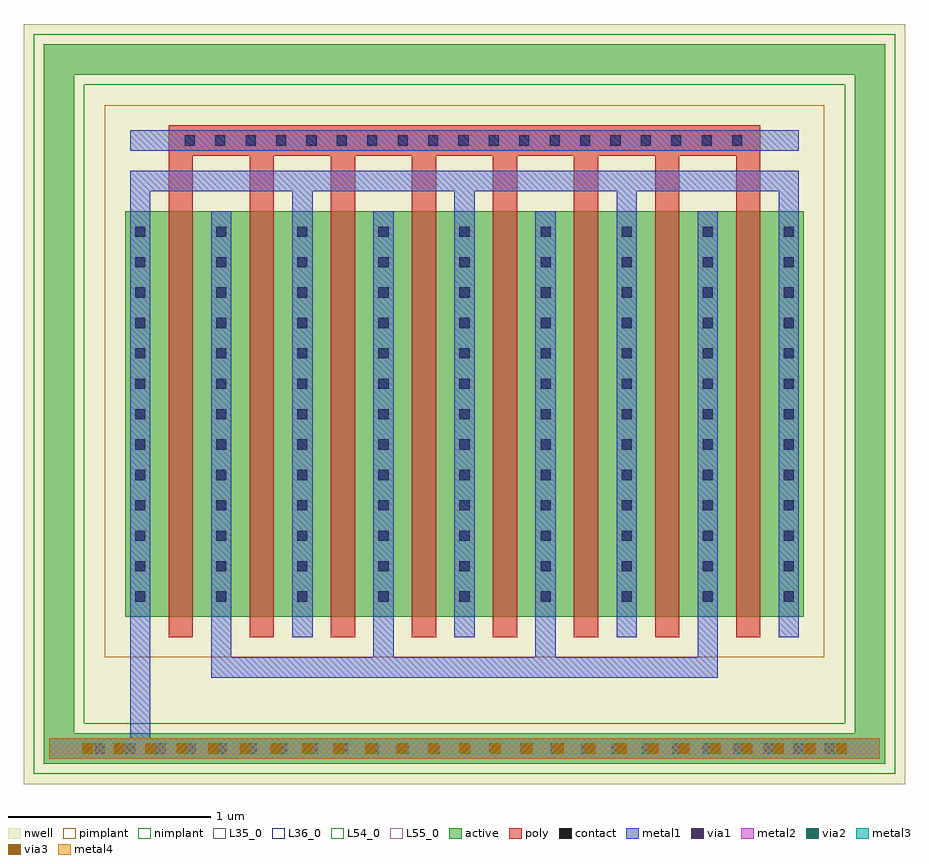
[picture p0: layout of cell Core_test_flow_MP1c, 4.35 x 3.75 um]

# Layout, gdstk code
import gdstk
lib = gdstk.Library(unit=1e-6, precision=1e-09)
def R(c, l, rs):  # rectangles x0, y0, x1, y1
    for r in rs: c.add(gdstk.rectangle(r[:2], r[2:], *l))
def A(c, l, x, y, w, h, nx, ny, dx, dy):  # array of equal rectangles
    R(c, l, [(x+i*dx, y+j*dy, x+i*dx+w, y+j*dy+h) for i in range(nx) for j in range(ny)])
nwell = (3, 0)
active = (6, 0)
poly = (17, 0)
pimplant = (25, 0)
nimplant = (26, 0)
contact = (30, 0)
metal1 = (31, 0)
metal2 = (32, 0)
metal3 = (33, 0)
metal4 = (34, 0)
L35_0 = (35, 0)
L36_0 = (36, 0)
via1 = (51, 0)
via2 = (52, 0)
via3 = (53, 0)
L54_0 = (54, 0)
L55_0 = (55, 0)

core_test_flow_mp1c = lib.new_cell('Core_test_flow_MP1c')
R(core_test_flow_mp1c, nwell, [(-0.575,-0.775,3.775,2.975), (-0.125,-0.1,3.325,2.2)])
R(core_test_flow_mp1c, active, [(-0.475,-0.675,-0.325,-0.525), (-0.325,-0.675,3.525,-0.525), (3.525,-0.675,3.675,-0.525), (-0.475,-0.525,-0.325,2.725), (3.525,-0.525,3.675,2.725), (-0.075,0.05,3.275,2.05), (-0.475,2.725,-0.325,2.875), (-0.325,2.725,3.525,2.875), (3.525,2.725,3.675,2.875)])
A(core_test_flow_mp1c, poly, 0.14, -0.05, 0.12, 2.2, 8, 1, 0.4, 0)
A(core_test_flow_mp1c, poly, 0.14, 2.05, 0.12, 0.3, 8, 1, 0.4, 0)
R(core_test_flow_mp1c, poly, [(0.14,2.325,3.06,2.475)])
R(core_test_flow_mp1c, pimplant, [(-0.175,-0.15,3.375,2.575)])
R(core_test_flow_mp1c, nimplant, [(-0.525,-0.725,-0.275,-0.475), (-0.325,-0.725,3.525,-0.475), (3.475,-0.725,3.725,-0.475), (-0.525,-0.525,-0.275,2.725), (3.475,-0.525,3.725,2.725), (-0.525,2.675,-0.275,2.925), (-0.325,2.675,3.525,2.925), (3.475,2.675,3.725,2.925)])
A(core_test_flow_mp1c, contact, -0.225, -0.625, 0.05, 0.05, 25, 1, 0.15, 0)
A(core_test_flow_mp1c, contact, -0.025, 0.125, 0.05, 0.05, 9, 13, 0.4, 0.15)
A(core_test_flow_mp1c, contact, 0.22, 2.375, 0.05, 0.05, 19, 1, 0.15, 0)
A(core_test_flow_mp1c, metal1, 0.35, -0.15, 0.1, 0.1, 4, 1, 0.8, 0)
A(core_test_flow_mp1c, metal1, -0.05, -0.05, 0.1, 2.1, 9, 1, 0.4, 0)
A(core_test_flow_mp1c, metal1, -0.05, 0.05, 0.1, 2, 9, 1, 0.4, 0)
A(core_test_flow_mp1c, metal1, -0.05, 2.05, 0.1, 0.1, 5, 1, 0.8, 0)
R(core_test_flow_mp1c, metal1, [(-0.45,-0.65,-0.35,-0.55), (-0.35,-0.65,-0.325,-0.55), (-0.325,-0.65,3.525,-0.55), (-0.05,-0.65,0.05,2.15), (3.525,-0.65,3.55,-0.55), (3.55,-0.65,3.65,-0.55), (0.35,-0.25,2.85,-0.15), (-0.05,2.15,3.25,2.25), (-0.05,2.35,3.25,2.45), (0.14,2.35,3.06,2.45)])
R(core_test_flow_mp1c, metal2, [(-0.45,-0.65,-0.35,-0.55), (-0.35,-0.65,-0.325,-0.55), (-0.325,-0.65,3.525,-0.55), (3.525,-0.65,3.55,-0.55), (3.55,-0.65,3.65,-0.55)])
R(core_test_flow_mp1c, metal3, [(-0.45,-0.65,-0.35,-0.55), (-0.35,-0.65,-0.325,-0.55), (-0.325,-0.65,3.525,-0.55), (3.525,-0.65,3.55,-0.55), (3.55,-0.65,3.65,-0.55)])
R(core_test_flow_mp1c, metal4, [(-0.45,-0.65,-0.35,-0.55), (-0.35,-0.65,-0.325,-0.55), (-0.325,-0.65,3.525,-0.55), (3.525,-0.65,3.55,-0.55), (3.55,-0.65,3.65,-0.55)])
R(core_test_flow_mp1c, L35_0, [(-0.45,-0.65,-0.35,-0.55), (-0.35,-0.65,-0.325,-0.55), (-0.325,-0.65,3.525,-0.55), (3.525,-0.65,3.55,-0.55), (3.55,-0.65,3.65,-0.55)])
R(core_test_flow_mp1c, L36_0, [(-0.45,-0.65,-0.35,-0.55), (-0.35,-0.65,-0.325,-0.55), (-0.325,-0.65,3.525,-0.55), (3.525,-0.65,3.55,-0.55), (3.55,-0.65,3.65,-0.55)])
A(core_test_flow_mp1c, via1, -0.285, -0.625, 0.05, 0.05, 25, 1, 0.155, 0)
A(core_test_flow_mp1c, via2, -0.285, -0.625, 0.05, 0.05, 25, 1, 0.155, 0)
A(core_test_flow_mp1c, via3, -0.285, -0.625, 0.05, 0.05, 25, 1, 0.155, 0)
A(core_test_flow_mp1c, L54_0, -0.285, -0.625, 0.05, 0.05, 25, 1, 0.155, 0)
A(core_test_flow_mp1c, L55_0, -0.285, -0.625, 0.05, 0.05, 25, 1, 0.155, 0)

lib.write_gds('Core_test_flow_MP1c.gds')
